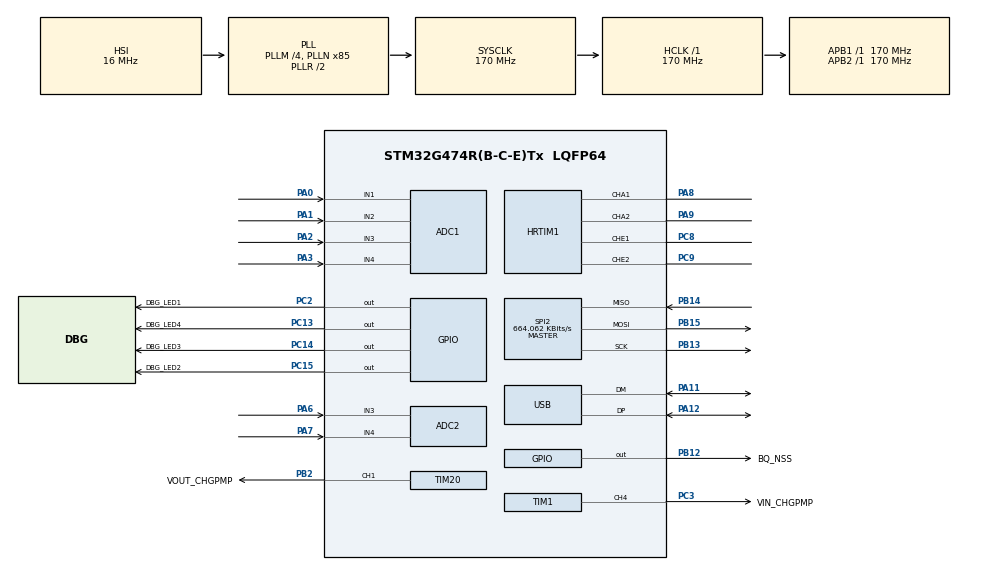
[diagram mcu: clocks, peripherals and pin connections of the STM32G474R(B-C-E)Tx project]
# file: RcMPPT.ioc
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ADC1.EOCSelection=ADC_EOC_SEQ_CONV
ADC1.EnableInjectedConversion=ENABLE
ADC1.EnableInjectedOversampling=ENABLE
ADC1.EnableRegularConversion=DISABLE
ADC1.ExternalTrigInjecConv=ADC_EXTERNALTRIGINJEC_HRTIM_TRG2
ADC1.InjNumberOfConversion=4
ADC1.InjOversamplingRatio=ADC_OVERSAMPLING_RATIO_4
ADC1.InjectedChannel-1\#ChannelInjectedConversion=ADC_CHANNEL_1
ADC1.InjectedChannel-2\#ChannelInjectedConversion=ADC_CHANNEL_2
ADC1.InjectedChannel-5\#ChannelInjectedConversion=ADC_CHANNEL_3
ADC1.InjectedChannel-6\#ChannelInjectedConversion=ADC_CHANNEL_4
ADC1.InjectedOffsetNumber-1\#ChannelInjectedConversion=ADC_OFFSET_NONE
ADC1.InjectedOffsetNumber-2\#ChannelInjectedConversion=ADC_OFFSET_NONE
ADC1.InjectedOffsetNumber-5\#ChannelInjectedConversion=ADC_OFFSET_NONE
ADC1.InjectedOffsetNumber-6\#ChannelInjectedConversion=ADC_OFFSET_NONE
ADC1.InjectedRank-1\#ChannelInjectedConversion=1
ADC1.InjectedRank-2\#ChannelInjectedConversion=2
ADC1.InjectedRank-5\#ChannelInjectedConversion=3
ADC1.InjectedRank-6\#ChannelInjectedConversion=4
ADC1.InjectedSamplingTime-1\#ChannelInjectedConversion=ADC_SAMPLETIME_12CYCLES_5
ADC1.InjectedSamplingTime-2\#ChannelInjectedConversion=ADC_SAMPLETIME_12CYCLES_5
ADC1.InjectedSamplingTime-5\#ChannelInjectedConversion=ADC_SAMPLETIME_12CYCLES_5
ADC1.InjectedSamplingTime-6\#ChannelInjectedConversion=ADC_SAMPLETIME_12CYCLES_5
ADC1.Mode=ADC_MODE_INDEPENDENT
ADC1.Overrun=ADC_OVR_DATA_PRESERVED
ADC1.Rank3_Channel=ADC_CHANNEL_3
ADC1.Rank4_Channel=ADC_CHANNEL_4
ADC1.master=1
ADC2.EOCSelection=ADC_EOC_SEQ_CONV
ADC2.EnableInjectedConversion=ENABLE
ADC2.EnableInjectedOversampling=ENABLE
ADC2.EnableRegularConversion=DISABLE
ADC2.ExternalTrigInjecConv=ADC_EXTERNALTRIGINJEC_HRTIM_TRG4
ADC2.InjNumberOfConversion=4
ADC2.InjOversamplingRatio=ADC_OVERSAMPLING_RATIO_4
ADC2.InjectedChannel-1\#ChannelInjectedConversion=ADC_CHANNEL_1
ADC2.InjectedChannel-2\#ChannelInjectedConversion=ADC_CHANNEL_2
ADC2.InjectedChannel-3\#ChannelInjectedConversion=ADC_CHANNEL_4
ADC2.InjectedChannel-4\#ChannelInjectedConversion=ADC_CHANNEL_3
ADC2.InjectedConvMode=None
ADC2.InjectedOffsetNumber-1\#ChannelInjectedConversion=ADC_OFFSET_NONE
ADC2.InjectedOffsetNumber-2\#ChannelInjectedConversion=ADC_OFFSET_NONE
ADC2.InjectedOffsetNumber-3\#ChannelInjectedConversion=ADC_OFFSET_NONE
ADC2.InjectedOffsetNumber-4\#ChannelInjectedConversion=ADC_OFFSET_NONE
ADC2.InjectedRank-1\#ChannelInjectedConversion=1
ADC2.InjectedRank-2\#ChannelInjectedConversion=2
ADC2.InjectedRank-3\#ChannelInjectedConversion=3
ADC2.InjectedRank-4\#ChannelInjectedConversion=4
ADC2.InjectedSamplingTime-1\#ChannelInjectedConversion=ADC_SAMPLETIME_12CYCLES_5
ADC2.InjectedSamplingTime-2\#ChannelInjectedConversion=ADC_SAMPLETIME_12CYCLES_5
ADC2.InjectedSamplingTime-3\#ChannelInjectedConversion=ADC_SAMPLETIME_12CYCLES_5
ADC2.InjectedSamplingTime-4\#ChannelInjectedConversion=ADC_SAMPLETIME_12CYCLES_5
ADC2.Overrun=ADC_OVR_DATA_PRESERVED
ADC2.Rank1_Channel=ADC_CHANNEL_1
ADC2.Rank2_Channel=ADC_CHANNEL_2
ADC2.Rank3_Channel=ADC_CHANNEL_4
ADC2.Rank4_Channel=ADC_CHANNEL_3
ADC2.injectedQueueMode=DISABLE
Dma.Request0=SPI2_RX
Dma.Request1=SPI2_TX
Dma.SPI2_RX.0.Direction=DMA_PERIPH_TO_MEMORY
Dma.SPI2_RX.0.EventEnable=DISABLE
Dma.SPI2_RX.0.Instance=DMA1_Channel1
Dma.SPI2_RX.0.MemDataAlignment=DMA_MDATAALIGN_BYTE
Dma.SPI2_RX.0.MemInc=DMA_MINC_ENABLE
Dma.SPI2_RX.0.Mode=DMA_NORMAL
Dma.SPI2_RX.0.PeriphDataAlignment=DMA_PDATAALIGN_BYTE
Dma.SPI2_RX.0.PeriphInc=DMA_PINC_DISABLE
Dma.SPI2_RX.0.Polarity=HAL_DMAMUX_REQ_GEN_RISING
Dma.SPI2_RX.0.Priority=DMA_PRIORITY_LOW
Dma.SPI2_RX.0.RequestNumber=1
Dma.SPI2_RX.0.SignalID=NONE
Dma.SPI2_RX.0.SyncEnable=DISABLE
Dma.SPI2_RX.0.SyncPolarity=HAL_DMAMUX_SYNC_NO_EVENT
Dma.SPI2_RX.0.SyncRequestNumber=1
Dma.SPI2_RX.0.SyncSignalID=NONE
Dma.SPI2_TX.1.Direction=DMA_MEMORY_TO_PERIPH
Dma.SPI2_TX.1.EventEnable=DISABLE
Dma.SPI2_TX.1.Instance=DMA1_Channel2
Dma.SPI2_TX.1.MemDataAlignment=DMA_MDATAALIGN_BYTE
Dma.SPI2_TX.1.MemInc=DMA_MINC_ENABLE
Dma.SPI2_TX.1.Mode=DMA_NORMAL
Dma.SPI2_TX.1.PeriphDataAlignment=DMA_PDATAALIGN_BYTE
Dma.SPI2_TX.1.PeriphInc=DMA_PINC_DISABLE
Dma.SPI2_TX.1.Polarity=HAL_DMAMUX_REQ_GEN_RISING
Dma.SPI2_TX.1.Priority=DMA_PRIORITY_LOW
Dma.SPI2_TX.1.RequestNumber=1
Dma.SPI2_TX.1.SignalID=NONE
Dma.SPI2_TX.1.SyncEnable=DISABLE
Dma.SPI2_TX.1.SyncPolarity=HAL_DMAMUX_SYNC_NO_EVENT
Dma.SPI2_TX.1.SyncRequestNumber=1
Dma.SPI2_TX.1.SyncSignalID=NONE
HRTIM1.ADCTrigger2_Source1=HRTIM_ADCTRIGGEREVENT24_TIMERE_CMP2
HRTIM1.ADCTrigger3_Source1=HRTIM_ADCTRIGGEREVENT13_TIMERE_CMP3
HRTIM1.ADCTrigger4_Source1=HRTIM_ADCTRIGGEREVENT24_TIMERE_CMP3
HRTIM1.ADCTrigger_Id2=HRTIM_ADCTRIGGER_2
HRTIM1.ADCTrigger_Id3=__NULL
HRTIM1.ADCTrigger_Id4=HRTIM_ADCTRIGGER_4
HRTIM1.CalibrationRate_nonIT=HRTIM_CALIBRATIONRATE_0
HRTIM1.CompareUnit1-Output_TA1TA2=HRTIM_COMPAREUNIT_1
HRTIM1.CompareUnit1-Output_TE1TE2=HRTIM_COMPAREUNIT_1
HRTIM1.CompareUnit2-Output_TE1TE2=HRTIM_COMPAREUNIT_2
HRTIM1.CompareUnit3-Output_TE1TE2=HRTIM_COMPAREUNIT_3
HRTIM1.CompareUnit4-Output_TE1TE2=__NULL
HRTIM1.CompareValue1-Output_TA1TA2=PWM_PERIOD/2
HRTIM1.CompareValue1-Output_TE1TE2=PWM_PERIOD/2
HRTIM1.CompareValue2-Output_TE1TE2=PWM_PERIOD/4
HRTIM1.CompareValue3-Output_TE1TE2=PWM_PERIOD/4*3
HRTIM1.DeadTimeInsertion-Output_TA1TA2=HRTIM_TIMDEADTIMEINSERTION_ENABLED
HRTIM1.DeadTimeInsertion-Output_TE1TE2=HRTIM_TIMDEADTIMEINSERTION_ENABLED
HRTIM1.Deadtimeconfig-Output_TE1TE2=HRTIM_TIMERINDEX_TIMER_E
HRTIM1.FallingValue-Output_TA1TA2=DEAD_TIME
HRTIM1.FallingValue-Output_TE1TE2=DEAD_TIME
HRTIM1.InterruptRequests1-Output_TA1TA2=HRTIM_TIM_IT_REP
HRTIM1.InterruptRequests1-Output_TE1TE2=HRTIM_TIM_IT_REP
HRTIM1.NumberADCTriggerSource2=1
HRTIM1.NumberADCTriggerSource3=1
HRTIM1.NumberADCTriggerSource4=1
HRTIM1.NumberInterruptRequests-Output_TA1TA2=0
HRTIM1.NumberInterruptRequests-Output_TE1TE2=1
HRTIM1.NumberResetSource1-Output_TA1TA2=1
HRTIM1.NumberResetSource1-Output_TE1TE2=1
HRTIM1.NumberSetSource1-Output_TA1TA2=1
HRTIM1.NumberSetSource1-Output_TE1TE2=1
HRTIM1.ORingUpdateSource_ADCTrigger2=HRTIM_ADCTRIGGERUPDATE_TIMER_E
HRTIM1.ORingUpdateSource_ADCTrigger3=HRTIM_ADCTRIGGERUPDATE_TIMER_E
HRTIM1.ORingUpdateSource_ADCTrigger4=HRTIM_ADCTRIGGERUPDATE_TIMER_E
HRTIM1.Periode_TA=PWM_PERIOD
HRTIM1.Periode_TE=PWM_PERIOD
HRTIM1.PreloadEnable-Output_TA1TA2=HRTIM_PRELOAD_DISABLED
HRTIM1.RepetitionUpdate-Output_TA1TA2=HRTIM_UPDATEONREPETITION_DISABLED
HRTIM1.ResetOutput1_Source1-Output_TA1TA2=HRTIM_OUTPUTRESET_TIMCMP1
HRTIM1.ResetOutput1_Source1-Output_TE1TE2=HRTIM_OUTPUTRESET_TIMPER
HRTIM1.RisingValue-Output_TA1TA2=DEAD_TIME
HRTIM1.RisingValue-Output_TE1TE2=DEAD_TIME
HRTIM1.SetOutput1_Source1-Output_TA1TA2=HRTIM_OUTPUTSET_TIMPER
HRTIM1.SetOutput1_Source1-Output_TE1TE2=HRTIM_OUTPUTSET_TIMCMP1
HRTIM1.Timeout=100
Mcu.Family=STM32G4
Mcu.Name=STM32G474R(B-C-E)Tx
Mcu.Package=LQFP64
Mcu.UserConstants=CHGPMP_PERIOD,8500;PWM_PERIOD,21760;DEAD_TIME,40
NVIC.ADC1_2_IRQn=true\:0\:0\:false\:false\:true\:true\:false
NVIC.DMA1_Channel1_IRQn=true\:0\:0\:false\:false\:true\:false\:true
NVIC.DMA1_Channel2_IRQn=true\:0\:0\:false\:false\:true\:false\:true
NVIC.FLASH_IRQn=true\:0\:0\:true\:false\:true\:true\:true
NVIC.HRTIM1_TIMA_IRQn=true\:0\:0\:false\:false\:true\:true\:false
NVIC.HRTIM1_TIME_IRQn=true\:0\:0\:false\:false\:true\:true\:false
NVIC.PVD_PVM_IRQn=true\:0\:0\:true\:false\:true\:true\:true
NVIC.PriorityGroup=NVIC_PRIORITYGROUP_4
NVIC.USB_HP_IRQn=true\:0\:0\:true\:false\:true\:true\:true
NVIC.USB_LP_IRQn=true\:0\:0\:true\:false\:true\:false\:true
PA0.Signal=SharedAnalog_PA0
PA1.Signal=SharedAnalog_PA1
PA11.Mode=Device
PA11.Signal=USB_DM
PA12.Mode=Device
PA12.Signal=USB_DP
PA13.Mode=Trace_Asynchronous_SW
PA13.Signal=SYS_JTMS-SWDIO
PA14.Mode=Trace_Asynchronous_SW
PA14.Signal=SYS_JTCK-SWCLK
PA2.Mode=IN3-Single-Ended
PA2.Signal=ADC1_IN3
PA3.Mode=IN4-Single-Ended
PA3.Signal=ADC1_IN4
PA6.Mode=IN3-Single-Ended
PA6.Signal=ADC2_IN3
PA7.Mode=IN4-Single-Ended
PA7.Signal=ADC2_IN4
PA8.Mode=Output_TA1TA2
PA8.Signal=HRTIM1_CHA1
PA9.Mode=Output_TA1TA2
PA9.Signal=HRTIM1_CHA2
PB12.GPIO_Label=BQ_NSS
PB12.Signal=GPIO_Output
PB13.GPIO_Speed=GPIO_SPEED_FREQ_VERY_HIGH
PB13.Mode=Full_Duplex_Master
PB13.Signal=SPI2_SCK
PB14.GPIO_Speed=GPIO_SPEED_FREQ_VERY_HIGH
PB14.Mode=Full_Duplex_Master
PB14.Signal=SPI2_MISO
PB15.GPIO_Speed=GPIO_SPEED_FREQ_VERY_HIGH
PB15.Mode=Full_Duplex_Master
PB15.Signal=SPI2_MOSI
PB2.GPIO_Label=VOUT_CHGPMP
PB2.Mode=PWM Generation1 CH1
PB2.Signal=TIM20_CH1
PB3.Mode=Trace_Asynchronous_SW
PB3.Signal=SYS_JTDO-SWO
PC13.GPIO_Label=DBG_LED4
PC13.Signal=GPIO_Output
PC14-OSC32_IN.GPIO_Label=DBG_LED3
PC14-OSC32_IN.Signal=GPIO_Output
PC15-OSC32_OUT.GPIO_Label=DBG_LED2
PC15-OSC32_OUT.Signal=GPIO_Output
PC2.GPIO_Label=DBG_LED1
PC2.Signal=GPIO_Output
PC3.GPIO_Label=VIN_CHGPMP
PC3.Signal=S_TIM1_CH4
PC8.Mode=Output_TE1TE2
PC8.Signal=HRTIM1_CHE1
PC9.Mode=Output_TE1TE2
PC9.Signal=HRTIM1_CHE2
PF0-OSC_IN.Mode=HSE-External-Oscillator
PF0-OSC_IN.Signal=RCC_OSC_IN
PF1-OSC_OUT.Mode=HSE-External-Oscillator
PF1-OSC_OUT.Signal=RCC_OSC_OUT
ProjectManager.HeapSize=0x1000
ProjectManager.StackSize=0x1000
ProjectManager.TargetToolchain=STM32CubeIDE
RCC.ADC12Freq_Value=170000000
RCC.ADC345Freq_Value=170000000
RCC.AHBFreq_Value=170000000
RCC.APB1Freq_Value=170000000
RCC.APB1TimFreq_Value=170000000
RCC.APB2Freq_Value=170000000
RCC.APB2TimFreq_Value=170000000
RCC.CK48CLockSelection=RCC_USBCLKSOURCE_HSI48
RCC.CortexFreq_Value=170000000
RCC.EXTERNAL_CLOCK_VALUE=12288000
RCC.HCLKFreq_Value=170000000
RCC.HSE_VALUE=16000000
RCC.HSI48_VALUE=48000000
RCC.HSI_VALUE=16000000
RCC.I2C1CLockSelection=RCC_I2C1CLKSOURCE_SYSCLK
RCC.I2C2CLockSelection=RCC_I2C2CLKSOURCE_SYSCLK
RCC.LSE_VALUE=32768
RCC.PLLM=RCC_PLLM_DIV4
RCC.PLLN=85
RCC.PLLQ=RCC_PLLQ_DIV6
RCC.SYSCLKFreq_VALUE=170000000
RCC.SYSCLKSource=RCC_SYSCLKSOURCE_PLLCLK
RCC.UART5CLockSelection=RCC_UART5CLKSOURCE_SYSCLK
RCC.USBFreq_Value=48000000
RCC.VCOOutputFreq_Value=340000000
SH.S_TIM1_CH4.0=TIM1_CH4,PWM Generation4 CH4
SH.SharedAnalog_PA0.0=ADC1_IN1,IN1-Single-Ended
SH.SharedAnalog_PA0.1=ADC2_IN1,IN1-Single-Ended
SH.SharedAnalog_PA1.0=ADC1_IN2,IN2-Single-Ended
SH.SharedAnalog_PA1.1=ADC2_IN2,IN2-Single-Ended
SPI2.BaudRatePrescaler=SPI_BAUDRATEPRESCALER_256
SPI2.CLKPhase=SPI_PHASE_2EDGE
SPI2.CalculateBaudRate=664.062 KBits/s
SPI2.DataSize=SPI_DATASIZE_8BIT
SPI2.Direction=SPI_DIRECTION_2LINES
SPI2.Mode=SPI_MODE_MASTER
SPI2.VirtualType=VM_MASTER
SYS.Mode=PWR_PVD_MODE_IT_RISING
SYS.PVDLevel=PWR_PVDLEVEL_6
TIM1.AutoReloadPreload=TIM_AUTORELOAD_PRELOAD_ENABLE
TIM1.Channel-PWM\ Generation4\ CH4=TIM_CHANNEL_4
TIM1.PeriodNoDither=CHGPMP_PERIOD
TIM1.PulseNoDither_4=CHGPMP_PERIOD/2
TIM20.AutoReloadPreload=TIM_AUTORELOAD_PRELOAD_ENABLE
TIM20.Channel-PWM\ Generation1\ CH1=TIM_CHANNEL_1
TIM20.PeriodNoDither=CHGPMP_PERIOD
TIM20.PulseNoDither_1=CHGPMP_PERIOD/2
USB.Sof_enable=ENABLE
USB.battery_charging_enable=DISABLE
USB.lpm_enable=DISABLE
USB_DEVICE.APP_RX_DATA_SIZE=512
USB_DEVICE.APP_TX_DATA_SIZE=512
USB_DEVICE.CLASS_NAME_FS=CDC
USB_DEVICE.USBD_DEBUG_LEVEL=3
USB_DEVICE.VirtualMode=Cdc
USB_DEVICE.VirtualModeFS=Cdc_FS
VP_CRC_VS_CRC.Mode=CRC_Activate
VP_SYS_VS_DBSignals.Mode=DisableDeadBatterySignals
VP_SYS_V_PVD_IN.Mode=Mode_PVD_Int
VP_TIM1_VS_ClockSourceINT.Mode=Internal
VP_TIM20_VS_ClockSourceINT.Mode=Internal
VP_TIM5_VS_ClockSourceINT.Mode=Internal
VP_USB_DEVICE_VS_USB_DEVICE_CDC_FS.Mode=CDC_FS
board=custom

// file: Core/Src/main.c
/* USER CODE BEGIN Header */
/**
 ******************************************************************************
 * @file           : main.c
 * @brief          : Main program body
 ******************************************************************************
 * @attention
 *
 * <h2><center>&copy; Copyright (c) 2021 STMicroelectronics.
 * All rights reserved.</center></h2>
 *
 * This software component is licensed by ST under Ultimate Liberty license
 * SLA0044, the "License"; You may not use this file except in compliance with
 * the License. You may obtain a copy of the License at:
 *                             www.st.com/SLA0044
 *
 ******************************************************************************
 */
/* USER CODE END Header */
#include "main.h"
#include "adc.h"
#include "crc.h"
#include "dma.h"
#include "hrtim.h"
#include "spi.h"
#include "usb_device.h"
#include "gpio.h"

/* USER CODE BEGIN Includes */
#include "usbd_cdc.h"
#include "usbd_cdc_if.h"
#include "tim.h"
#include "bq76pl536a.h"
/* USER CODE END Includes */

/* USER CODE BEGIN PD */
#define PWR_FLAG_WUF PWR_FLAG_WUF2
/* USER CODE END PD */

/* USER CODE BEGIN PV */
__IO uint32_t Index = 1;
__IO uint32_t ErasingOnGoing = 0;
int new_v_cell_data = 0;

struct BQ76 battery_monitor =
{ .adc_control =
{ .CELL_SEL = CELL_1_6, .TS = BOTH, }, .cb_time =
{ .CBCT = 1, }, .function_config =
{ .CN = CELLS_6, } };
/* USER CODE END PV */

void SystemClock_Config(void);
/* USER CODE BEGIN PFP */
void writeEEPROM8(uint32_t Index, uint8_t data);
void writeEEPROM16(uint32_t Index, uint16_t data);
void writeEEPROM32(uint32_t Index, uint32_t data);

uint8_t readEEPROM8(uint32_t Index);
uint16_t readEEPROM16(uint32_t Index);
uint32_t readEEPROM32(uint32_t Index);
/* USER CODE END PFP */

int main(void)
{
	/* USER CODE BEGIN 1 */
	//Set initial EE-Status
	EE_Status ee_status = EE_OK;
	/* USER CODE END 1 */

	/* MCU Configuration--------------------------------------------------------*/

	/* Reset of all peripherals, Initializes the Flash interface and the Systick. */
	HAL_Init();

	/* Configure the system clock */
	SystemClock_Config();

	/* USER CODE BEGIN SysInit */
	LL_HRTIM_StartDLLCalibration(HRTIM1);
	//Enable FLASH Interrupt and set NVIC Priority
	HAL_NVIC_SetPriority(FLASH_IRQn, 0, 0);
	HAL_NVIC_EnableIRQ(FLASH_IRQn);

	//Unlock the Flash write protection
	HAL_FLASH_Unlock();

	//Enable RCC Clock
	__HAL_RCC_PWR_CLK_ENABLE();

	//Init the eeprom
	//If this fails, do an entire chip erase
	ee_status = EE_Init(EE_FORCED_ERASE);
	if (ee_status != EE_OK)
	{
		Error_Handler();
	}
	//Set initial sample rate
	targetSampleDelay = 10000;
	//Set initial Target Voltage
	setTargetVout = 10000;
	targetVout = 0;
	limitIout = 1000;
	//Set initial conversion mode
	conversionState = CONVERSION_STATE_SHUTDOWN;
	//Set initial BuckBoost Band
	buckBoostBand = BUCK_BOOST_BAND - BUCK_BOOST_BAND_HYSTERESIS;
	/* USER CODE END SysInit */

	/* Initialize all configured peripherals */
	MX_GPIO_Init();
	MX_HRTIM1_Init();
	MX_CRC_Init();
	MX_USB_Device_Init();
	MX_TIM5_Init();
	MX_ADC1_Init();
	MX_ADC2_Init();
	MX_TIM1_Init();
	MX_TIM20_Init();
	MX_DMA_Init();
	MX_SPI2_Init();
	/* USER CODE BEGIN 2 */
	LL_ADC_DisableDeepPowerDown(ADC1);
	LL_ADC_DisableDeepPowerDown(ADC2);
	HAL_Delay(1);	//Wait before powering up the regulator
	LL_ADC_EnableInternalRegulator(ADC1);
	LL_ADC_EnableInternalRegulator(ADC2);
	HAL_Delay(1);	//Wait for regulator stabilization
	LL_ADC_StartCalibration(ADC1, LL_ADC_SINGLE_ENDED);
	LL_ADC_StartCalibration(ADC2, LL_ADC_SINGLE_ENDED);
	while (LL_ADC_IsCalibrationOnGoing(ADC1) != 0);
	while (LL_ADC_IsCalibrationOnGoing(ADC2) != 0);
	HAL_Delay(1);	//Wait after calibration before activation ADC
	LL_ADC_Enable(ADC1);
	LL_ADC_Enable(ADC2);
	while (LL_ADC_IsActiveFlag_ADRDY(ADC1) == 0);
	while (LL_ADC_IsActiveFlag_ADRDY(ADC2) == 0);
	HAL_Delay(1);	//Wait before starting conversion
	//Start Timer and ADC Peripherals
	LL_ADC_INJ_StartConversion(ADC1);
	LL_ADC_INJ_StartConversion(ADC2);
	//Enable output onto gpio pins
	LL_HRTIM_EnableOutput(HRTIM1, LL_HRTIM_OUTPUT_TE1 | LL_HRTIM_OUTPUT_TE2 | LL_HRTIM_OUTPUT_TA1 | LL_HRTIM_OUTPUT_TA2);
	//Init ADC Filters
	Moving_Average_Init(&VinFilter, 40);
	Moving_Average_Init(&VoutFilter, 40);
	Moving_Average_Init(&CurInFilter, 40);
	Moving_Average_Init(&CurOutFilter, 40);
	//Enable Repetition Interrupt HRTIM
	LL_HRTIM_EnableIT_REP(HRTIM1, LL_HRTIM_TIMER_E);
	//Enable End of Injected Conversion Interrupt ADC
	LL_ADC_EnableIT_JEOS(ADC1);
	LL_ADC_EnableIT_JEOS(ADC2);
	//Enable 32Bit Timer for timing us events
	HAL_TIM_Base_Start(&htim5);
	__HAL_TIM_SET_PRESCALER(&htim5, HAL_RCC_GetPCLK1Freq() / 1000000 - 1);
	HAL_TIM_GenerateEvent(&htim5, TIM_EVENTSOURCE_UPDATE);

	__enable_irq();

	//Start HRTIM Counter
	LL_HRTIM_TIM_CounterEnable(HRTIM1, LL_HRTIM_TIMER_E | LL_HRTIM_TIMER_A);
	/* USER CODE END 2 */

	/* Infinite loop */
	/* USER CODE BEGIN WHILE */
	uint32_t nextSampleTime = 0;

	if (bq76_init(&battery_monitor, 0x01, 60, MAX_VCELL, 100, MIN_VCELL, 100, 60, 60, 100) != BQ76_OK)
	{
		bms_present = 0;
	}
	else
	{
		bms_present = 1;
	}

	while (1)
	{

		//Queue
		if (__HAL_TIM_GET_COUNTER(&htim5) >= nextSampleTime)
		{
			hostInterfaceQueueDeviceCMDExpl(OPSTATUS_OK, OPCODE_REPORT_LIVE_VALUE, OPTYPE_OUTPUT_VOLTAGE, VoutAverage);
			hostInterfaceQueueDeviceCMDExpl(OPSTATUS_OK, OPCODE_REPORT_LIVE_VALUE, OPTYPE_INPUT_VOLTAGE, VinAverage);
			hostInterfaceQueueDeviceCMDExpl(OPSTATUS_OK, OPCODE_REPORT_LIVE_VALUE, OPTYPE_OUTPUT_CURRENT, CurOutAverage);
			hostInterfaceQueueDeviceCMDExpl(OPSTATUS_OK, OPCODE_REPORT_LIVE_VALUE, OPTYPE_INPUT_CURRENT, CurInAverage);
			hostInterfaceQueueDeviceCMDExpl(OPSTATUS_OK, OPCODE_FINISHED_SAMPLE, OPTYPE_SAMPLE_NUM_OF_CHANNELS, 4);

			if (bms_present)
			{
				//Request Cell Voltage Conversion
				bq76_swrqst_adc_convert(&battery_monitor);

				//Read out cell voltages
				if (bq76_read_v_cells(&battery_monitor) != BQ76_OK)
				{
					bms_present = 0;
				}

				hostInterfaceQueueDeviceCMDExpl(OPSTATUS_OK, OPCODE_REPORT_CELL_VOLTAGE, 0, (int)battery_monitor.v_cells[0]);
				hostInterfaceQueueDeviceCMDExpl(OPSTATUS_OK, OPCODE_REPORT_CELL_VOLTAGE, 1, (int)battery_monitor.v_cells[1]);
				hostInterfaceQueueDeviceCMDExpl(OPSTATUS_OK, OPCODE_REPORT_CELL_VOLTAGE, 2, (int)battery_monitor.v_cells[2]);
				hostInterfaceQueueDeviceCMDExpl(OPSTATUS_OK, OPCODE_REPORT_CELL_VOLTAGE, 3, (int)battery_monitor.v_cells[3]);
				hostInterfaceQueueDeviceCMDExpl(OPSTATUS_OK, OPCODE_REPORT_CELL_VOLTAGE, 4, (int)battery_monitor.v_cells[4]);
				hostInterfaceQueueDeviceCMDExpl(OPSTATUS_OK, OPCODE_REPORT_CELL_VOLTAGE, 5, (int)battery_monitor.v_cells[5]);

				//Read status of device
				//bq76_read_alert_reg(&battery_monitor);
				//bq76_read_cov_fault_reg(&battery_monitor);
				//bq76_read_cuv_fault_reg(&battery_monitor);
				//bq76_read_fault_reg(&battery_monitor);
			}

			nextSampleTime = __HAL_TIM_GET_COUNTER(&htim5) + targetSampleDelay;
		}

		//Handle Host Interface
		hostInterfaceProcessCommand();

		/* USER CODE END WHILE */

	}
}

void SystemClock_Config(void)
{
	RCC_OscInitTypeDef RCC_OscInitStruct =
	{ 0 };
	RCC_ClkInitTypeDef RCC_ClkInitStruct =
	{ 0 };

	/** Configure the main internal regulator output voltage
	 */
	HAL_PWREx_ControlVoltageScaling(PWR_REGULATOR_VOLTAGE_SCALE1_BOOST);
	/** Initializes the RCC Oscillators according to the specified parameters
	 * in the RCC_OscInitTypeDef structure.
	 */
	RCC_OscInitStruct.OscillatorType = RCC_OSCILLATORTYPE_HSI | RCC_OSCILLATORTYPE_HSI48;
	RCC_OscInitStruct.HSIState = RCC_HSI_ON;
	RCC_OscInitStruct.HSICalibrationValue = RCC_HSICALIBRATION_DEFAULT;
	RCC_OscInitStruct.HSI48State = RCC_HSI48_ON;
	RCC_OscInitStruct.PLL.PLLState = RCC_PLL_ON;
	RCC_OscInitStruct.PLL.PLLSource = RCC_PLLSOURCE_HSI;
	RCC_OscInitStruct.PLL.PLLM = RCC_PLLM_DIV4;
	RCC_OscInitStruct.PLL.PLLN = 85;
	RCC_OscInitStruct.PLL.PLLP = RCC_PLLP_DIV2;
	RCC_OscInitStruct.PLL.PLLQ = RCC_PLLQ_DIV6;
	RCC_OscInitStruct.PLL.PLLR = RCC_PLLR_DIV2;
	if (HAL_RCC_OscConfig(&RCC_OscInitStruct) != HAL_OK)
	{
		Error_Handler();
	}
	/** Initializes the CPU, AHB and APB buses clocks
	 */
	RCC_ClkInitStruct.ClockType = RCC_CLOCKTYPE_HCLK | RCC_CLOCKTYPE_SYSCLK | RCC_CLOCKTYPE_PCLK1 | RCC_CLOCKTYPE_PCLK2;
	RCC_ClkInitStruct.SYSCLKSource = RCC_SYSCLKSOURCE_PLLCLK;
	RCC_ClkInitStruct.AHBCLKDivider = RCC_SYSCLK_DIV1;
	RCC_ClkInitStruct.APB1CLKDivider = RCC_HCLK_DIV1;
	RCC_ClkInitStruct.APB2CLKDivider = RCC_HCLK_DIV1;

	if (HAL_RCC_ClockConfig(&RCC_ClkInitStruct, FLASH_LATENCY_4) != HAL_OK)
	{
		Error_Handler();
	}
}

/* USER CODE BEGIN 4 */
int _write(int32_t file, uint8_t *ptr, int32_t len)
{
	/* Implement your write code here, this is used by puts and printf for example */
	int i = 0;
	for (i = 0; i < len; i++)
	{
		ITM_SendChar((*ptr++));
	}
	return len;
}

void HAL_SPI_RxCpltCallback(SPI_HandleTypeDef *hspi)
{
	if (battery_monitor.current_dma_request == BQ76_V_CELLS)
	{
		new_v_cell_data = 1;
	}
	handle_bq76_dma_callback(&battery_monitor);
}

/**
 * @brief  FLASH end of operation interrupt callback.
 * @param  ReturnValue: The value saved in this parameter depends on the ongoing procedure
 *                  Mass Erase: Bank number which has been requested to erase
 *                  Page Erase: Page which has been erased
 *                    (if 0xFFFFFFFF, it means that all the selected pages have been erased)
 *                  Program: Address which was selected for data program
 * @retval None
 */
void HAL_FLASH_EndOfOperationCallback(uint32_t ReturnValue)
{
	/* Call CleanUp callback when all requested pages have been erased */
	if (ReturnValue == 0xFFFFFFFF)
	{
		EE_EndOfCleanup_UserCallback();
	}
}

/**
 * @brief  Clean Up end of operation interrupt callback.
 * @param  None
 * @retval None
 */
void EE_EndOfCleanup_UserCallback(void)
{
	ErasingOnGoing = 0;
}

void writeEEPROM8(uint32_t Index, uint8_t data)
{
	/* Wait any cleanup is completed before accessing flash again */
	while (ErasingOnGoing == 1)
	{
	}

	EE_Status ee_status = EE_WriteVariable8bits(Index, data);

	/* Start cleanup IT mode, if cleanup is needed */
	if ((ee_status & EE_STATUSMASK_CLEANUP ) == EE_STATUSMASK_CLEANUP)
	{
		ErasingOnGoing = 1;
		ee_status |= EE_CleanUp_IT();
	}
	if ((ee_status & EE_STATUSMASK_ERROR ) == EE_STATUSMASK_ERROR)
	{
		Error_Handler();
	}
}

void writeEEPROM16(uint32_t Index, uint16_t data)
{
	/* Wait any cleanup is completed before accessing flash again */
	while (ErasingOnGoing == 1)
	{
	}

	EE_Status ee_status = EE_WriteVariable16bits(Index, data);

	/* Start cleanup IT mode, if cleanup is needed */
	if ((ee_status & EE_STATUSMASK_CLEANUP ) == EE_STATUSMASK_CLEANUP)
	{
		ErasingOnGoing = 1;
		ee_status |= EE_CleanUp_IT();
	}
	if ((ee_status & EE_STATUSMASK_ERROR ) == EE_STATUSMASK_ERROR)
	{
		Error_Handler();
	}
}

void writeEEPROM32(uint32_t Index, uint32_t data)
{
	/* Wait any cleanup is completed before accessing flash again */
	while (ErasingOnGoing == 1)
	{
	}

	EE_Status ee_status = EE_WriteVariable32bits(Index, data);

	/* Start cleanup IT mode, if cleanup is needed */
	if ((ee_status & EE_STATUSMASK_CLEANUP ) == EE_STATUSMASK_CLEANUP)
	{
		ErasingOnGoing = 1;
		ee_status |= EE_CleanUp_IT();
	}
	if ((ee_status & EE_STATUSMASK_ERROR ) == EE_STATUSMASK_ERROR)
	{
		Error_Handler();
	}
}

uint8_t readEEPROM8(uint32_t Index)
{
	/* Wait any cleanup is completed before accessing flash again */
	while (ErasingOnGoing == 1)
	{
	}

	uint8_t dataOut = 0;

	EE_Status ee_status = EE_ReadVariable8bits(Index, &dataOut);

	/* Start cleanup IT mode, if cleanup is needed */
	if ((ee_status & EE_STATUSMASK_CLEANUP ) == EE_STATUSMASK_CLEANUP)
	{
		ErasingOnGoing = 1;
		ee_status |= EE_CleanUp_IT();
	}
	if ((ee_status & EE_STATUSMASK_ERROR ) == EE_STATUSMASK_ERROR)
	{
		Error_Handler();
	}
	return dataOut;
}

uint16_t readEEPROM16(uint32_t Index)
{
	/* Wait any cleanup is completed before accessing flash again */
	while (ErasingOnGoing == 1)
	{
	}

	uint16_t dataOut = 0;

	EE_Status ee_status = EE_ReadVariable16bits(Index, &dataOut);

	/* Start cleanup IT mode, if cleanup is needed */
	if ((ee_status & EE_STATUSMASK_CLEANUP ) == EE_STATUSMASK_CLEANUP)
	{
		ErasingOnGoing = 1;
		ee_status |= EE_CleanUp_IT();
	}
	if ((ee_status & EE_STATUSMASK_ERROR ) == EE_STATUSMASK_ERROR)
	{
		Error_Handler();
	}
	return dataOut;
}

uint32_t readEEPROM32(uint32_t Index)
{
	/* Wait any cleanup is completed before accessing flash again */
	while (ErasingOnGoing == 1)
	{
	}

	uint32_t dataOut = 0;

	EE_Status ee_status = EE_ReadVariable32bits(Index, &dataOut);

	/* Start cleanup IT mode, if cleanup is needed */
	if ((ee_status & EE_STATUSMASK_CLEANUP ) == EE_STATUSMASK_CLEANUP)
	{
		ErasingOnGoing = 1;
		ee_status |= EE_CleanUp_IT();
	}
	if ((ee_status & EE_STATUSMASK_ERROR ) == EE_STATUSMASK_ERROR)
	{
		Error_Handler();
	}
	return dataOut;
}
/* USER CODE END 4 */

void Error_Handler(void)
{
	/* USER CODE BEGIN Error_Handler_Debug */
	/* User can add his own implementation to report the HAL error return state */
	__disable_irq();
	LL_HRTIM_DisableOutput(HRTIM1, LL_HRTIM_OUTPUT_TE1 | LL_HRTIM_OUTPUT_TE2 | LL_HRTIM_OUTPUT_TA1 | LL_HRTIM_OUTPUT_TA2);
	while (1)
	{
	}
	/* USER CODE END Error_Handler_Debug */
}
